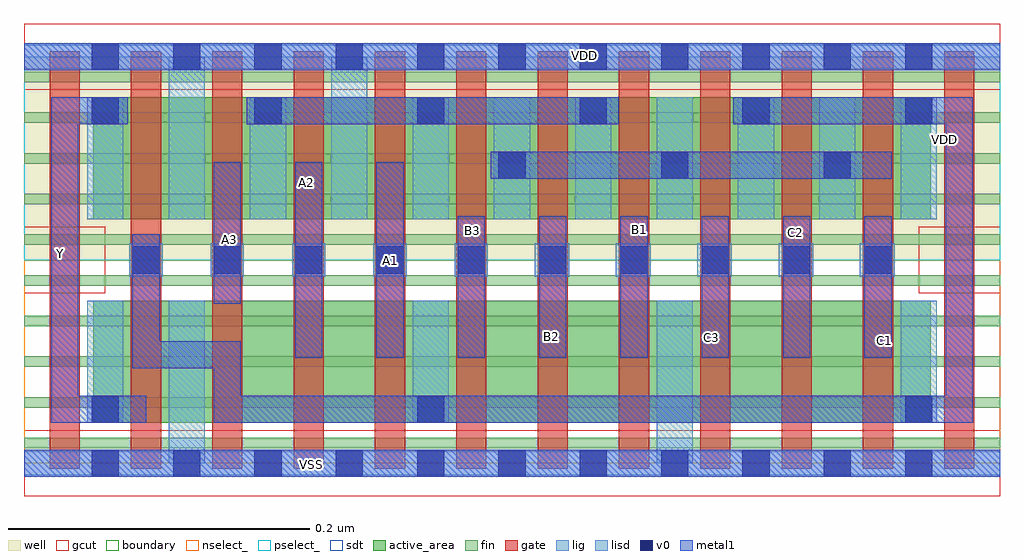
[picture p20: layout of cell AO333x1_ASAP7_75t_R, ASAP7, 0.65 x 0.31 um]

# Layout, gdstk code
import gdstk
lib = gdstk.Library(unit=1e-6, precision=2.5e-10)
def R(c, l, rs):  # rectangles x0, y0, x1, y1
    for r in rs: c.add(gdstk.rectangle(r[:2], r[2:], *l))
def A(c, l, x, y, w, h, nx, ny, dx, dy):  # array of equal rectangles
    R(c, l, [(x+i*dx, y+j*dy, x+i*dx+w, y+j*dy+h) for i in range(nx) for j in range(ny)])
def P(c, l, *ps):  # polygons
    for p in ps: c.add(gdstk.Polygon(p, *l))
well = (1, 0)
fin = (2, 0)
gate = (7, 0)
gcut = (10, 0)
active_area = (11, 0)
nselect_ = (12, 0)
pselect_ = (13, 0)
lig = (16, 0)
lisd = (17, 0)
v0 = (18, 0)
metal1 = (19, 0)
sdt = (88, 0)
boundary = (100, 0)

ao333x1_asap7_75t_r = lib.new_cell('AO333x1_ASAP7_75t_R')
R(ao333x1_asap7_75t_r, well, [(0,0.135,0.648,0.27)])
A(ao333x1_asap7_75t_r, fin, 0, 0.01, 0.648, 0.007, 1, 10, 0, 0.027)
A(ao333x1_asap7_75t_r, gate, 0.017, -0.0035, 0.02, 0.277, 12, 1, 0.054, 0)
R(ao333x1_asap7_75t_r, gcut, [(0,-0.022,0.648,0.022), (0,0.113,0.054,0.157), (0.594,0.113,0.648,0.157), (0,0.248,0.648,0.292)])
R(ao333x1_asap7_75t_r, active_area, [(0.046,0.027,0.602,0.108), (0.046,0.162,0.602,0.243)])
R(ao333x1_asap7_75t_r, nselect_, [(0,0,0.648,0.135)])
R(ao333x1_asap7_75t_r, pselect_, [(0,0.135,0.648,0.27)])
A(ao333x1_asap7_75t_r, lig, 0.07, 0.124, 0.022, 0.022, 5, 1, 0.054, 0)
A(ao333x1_asap7_75t_r, lig, 0.339, 0.124, 0.023, 0.022, 5, 1, 0.054, 0)
R(ao333x1_asap7_75t_r, lig, [(0,-0.008,0.648,0.008), (0,0.262,0.648,0.278)])
A(ao333x1_asap7_75t_r, lisd, 0.042, 0.162, 0.024, 0.081, 3, 1, 0.108, 0)
A(ao333x1_asap7_75t_r, lisd, 0.312, 0.162, 0.024, 0.081, 6, 1, 0.054, 0)
R(ao333x1_asap7_75t_r, lisd, [(0.096,0,0.12,0.108), (0.42,0,0.444,0.108), (0.042,0.027,0.066,0.108), (0.258,0.027,0.282,0.108), (0.582,0.027,0.606,0.108), (0.096,0.162,0.12,0.27), (0.204,0.162,0.228,0.27)])
A(ao333x1_asap7_75t_r, v0, 0.045, -0.009, 0.018, 0.018, 11, 2, 0.054, 0.27)
A(ao333x1_asap7_75t_r, v0, 0.072, 0.126, 0.018, 0.018, 10, 1, 0.054, 0)
A(ao333x1_asap7_75t_r, v0, 0.315, 0.189, 0.018, 0.018, 3, 1, 0.108, 0)
A(ao333x1_asap7_75t_r, v0, 0.045, 0.225, 0.018, 0.018, 6, 1, 0.108, 0)
R(ao333x1_asap7_75t_r, v0, [(0.045,0.027,0.063,0.045), (0.261,0.027,0.279,0.045), (0.585,0.027,0.603,0.045)])
A(ao333x1_asap7_75t_r, metal1, 0.288, 0.07, 0.018, 0.094, 6, 1, 0.054, 0)
R(ao333x1_asap7_75t_r, metal1, [(0,-0.009,0.648,0.009), (0.18,0.07,0.198,0.2), (0.234,0.07,0.252,0.2), (0.126,0.106,0.144,0.2), (0.31,0.189,0.576,0.207), (0.148,0.225,0.395,0.243), (0,0.261,0.648,0.279)])
P(ao333x1_asap7_75t_r, metal1, [(0.63,0.243),(0.471,0.243),(0.471,0.225),(0.612,0.225),(0.612,0.045),(0.144,0.045),(0.144,0.081),(0.09,0.081),(0.09,0.152),(0.072,0.152),(0.072,0.063),(0.126,0.063),(0.126,0.027),(0.63,0.027)],
  [(0.081,0.045),(0.036,0.045),(0.036,0.225),(0.069,0.225),(0.069,0.243),(0.018,0.243),(0.018,0.027),(0.081,0.027)])
A(ao333x1_asap7_75t_r, sdt, 0.096, 0.027, 0.024, 0.081, 4, 1, 0.162, 0)
A(ao333x1_asap7_75t_r, sdt, 0.042, 0.162, 0.024, 0.081, 11, 1, 0.054, 0)
R(ao333x1_asap7_75t_r, sdt, [(0.042,0.027,0.066,0.108)])
R(ao333x1_asap7_75t_r, boundary, [(0,0,0.648,0.27)])
ao333x1_asap7_75t_r.add(gdstk.Label('Y', (0.0245,0.1395), layer=19, texttype=251))
ao333x1_asap7_75t_r.add(gdstk.Label('C3', (0.4565,0.0835), layer=19, texttype=251))
ao333x1_asap7_75t_r.add(gdstk.Label('C2', (0.5125,0.1535), layer=19, texttype=251))
ao333x1_asap7_75t_r.add(gdstk.Label('C1', (0.5715,0.0815), layer=19, texttype=251))
ao333x1_asap7_75t_r.add(gdstk.Label('VDD', (0.372,0.271), layer=19, texttype=251))
ao333x1_asap7_75t_r.add(gdstk.Label('B3', (0.2975,0.1545), layer=19, texttype=251))
ao333x1_asap7_75t_r.add(gdstk.Label('VSS', (0.191,-0.001), layer=19, texttype=251))
ao333x1_asap7_75t_r.add(gdstk.Label('B2', (0.3505,0.0845), layer=19, texttype=251))
ao333x1_asap7_75t_r.add(gdstk.Label('B1', (0.4085,0.1555), layer=19, texttype=251))
ao333x1_asap7_75t_r.add(gdstk.Label('A3', (0.1365,0.1485), layer=19, texttype=251))
ao333x1_asap7_75t_r.add(gdstk.Label('A2', (0.1875,0.1865), layer=19, texttype=251))
ao333x1_asap7_75t_r.add(gdstk.Label('A1', (0.2435,0.1345), layer=19, texttype=251))
ao333x1_asap7_75t_r.add(gdstk.Label('VDD', (0.611,0.215), layer=1, texttype=251))
ao333x1_asap7_75t_r.add(gdstk.Label('VSS', (0.378,-0.063), layer=3, texttype=251))

lib.write_gds('AO333x1_ASAP7_75t_R.gds')
